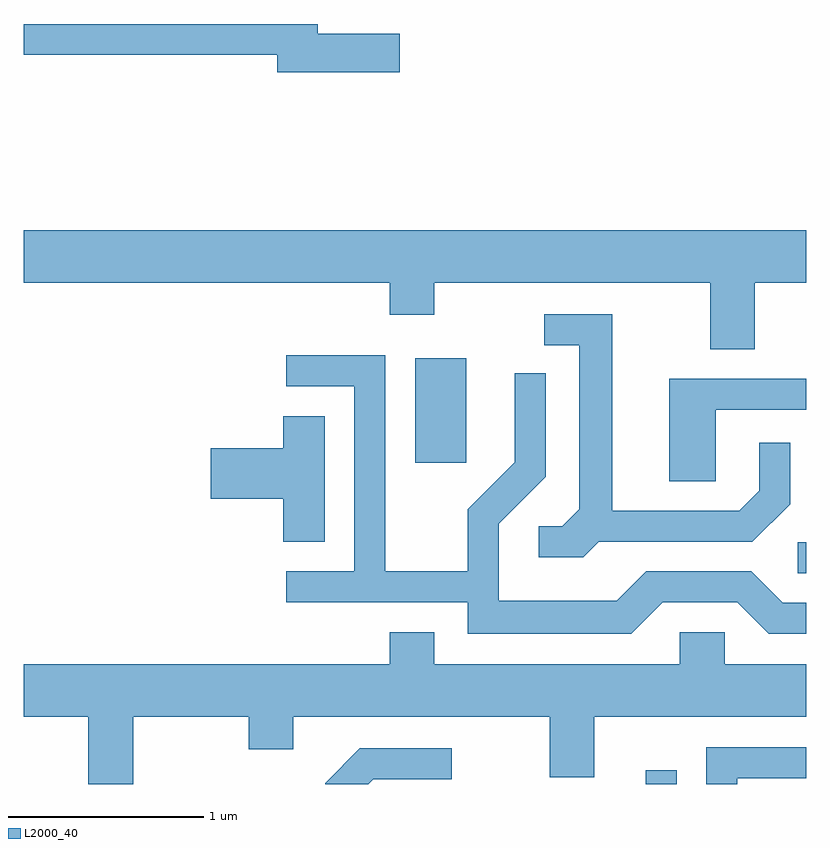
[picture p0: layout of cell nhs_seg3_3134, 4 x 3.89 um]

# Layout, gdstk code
import gdstk
lib = gdstk.Library(unit=1e-6, precision=1e-09)
def R(c, l, rs):  # rectangles x0, y0, x1, y1
    for r in rs: c.add(gdstk.rectangle(r[:2], r[2:], *l))
def P(c, l, *ps):  # polygons
    for p in ps: c.add(gdstk.Polygon(p, *l))
L2000_40 = (2000, 40)

nhs_seg3_3134 = lib.new_cell('nhs_seg3_3134')
R(nhs_seg3_3134, L2000_40, [(280.791,1127.892,280.949,1127.963), (281.568,1128.971,281.611,1129.129), (279.611,1129.536,279.874,1130.069)])
P(nhs_seg3_3134, L2000_40, [(279.534,1131.729),(279.114,1131.729),(279.114,1131.779),(277.611,1131.779),(277.611,1131.621),(278.906,1131.621),(278.906,1131.531),(279.534,1131.531)],
  [(281.349,1130.456),(281.611,1130.456),(281.611,1130.724),(277.611,1130.724),(277.611,1130.456),(279.481,1130.456),(279.481,1130.291),(279.709,1130.291),(279.709,1130.456),(281.121,1130.456),(281.121,1130.116),(281.349,1130.116)],
  [(280.552,1129.131),(281.337,1129.131),(281.529,1129.324),(281.529,1129.638),(281.371,1129.638),(281.371,1129.392),(281.269,1129.289),(280.619,1129.289),(280.619,1130.294),(280.273,1130.294),(280.273,1130.136),(280.451,1130.136),(280.451,1129.297),(280.364,1129.209),(280.243,1129.209),(280.243,1129.051),(280.472,1129.051)],
  [(280.877,1128.821),(281.259,1128.821),(281.419,1128.661),(281.611,1128.661),(281.611,1128.819),(281.492,1128.819),(281.332,1128.979),(280.794,1128.979),(280.644,1128.829),(280.039,1128.829),(280.039,1129.224),(280.279,1129.464),(280.279,1129.993),(280.121,1129.993),(280.121,1129.537),(279.881,1129.297),(279.881,1128.979),(279.459,1128.979),(279.459,1130.084),(278.953,1130.084),(278.953,1129.926),(279.301,1129.926),(279.301,1128.979),(278.953,1128.979),(278.953,1128.821),(279.881,1128.821),(279.881,1128.661),(280.717,1128.661)],
  [(281.149,1129.806),(281.611,1129.806),(281.611,1129.964),(280.911,1129.964),(280.911,1129.441),(281.149,1129.441)],
  [(279.149,1129.774),(278.936,1129.774),(278.936,1129.609),(278.566,1129.609),(278.566,1129.351),(278.936,1129.351),(278.936,1129.131),(279.149,1129.131)],
  [(278.169,1128.236),(278.761,1128.236),(278.761,1128.071),(278.989,1128.071),(278.989,1128.236),(280.301,1128.236),(280.301,1127.926),(280.529,1127.926),(280.529,1128.236),(281.611,1128.236),(281.611,1128.504),(281.194,1128.504),(281.194,1128.669),(280.966,1128.669),(280.966,1128.504),(279.709,1128.504),(279.709,1128.669),(279.481,1128.669),(279.481,1128.504),(277.611,1128.504),(277.611,1128.236),(277.941,1128.236),(277.941,1127.892),(278.169,1127.892)],
  [(281.259,1127.921),(281.611,1127.921),(281.611,1128.079),(281.101,1128.079),(281.101,1127.892),(281.259,1127.892)],
  [(279.397,1127.916),(279.798,1127.916),(279.798,1128.074),(279.329,1128.074),(279.151,1127.897),(279.151,1127.892),(279.373,1127.892)])

lib.write_gds('nhs_seg3_3134.gds')
